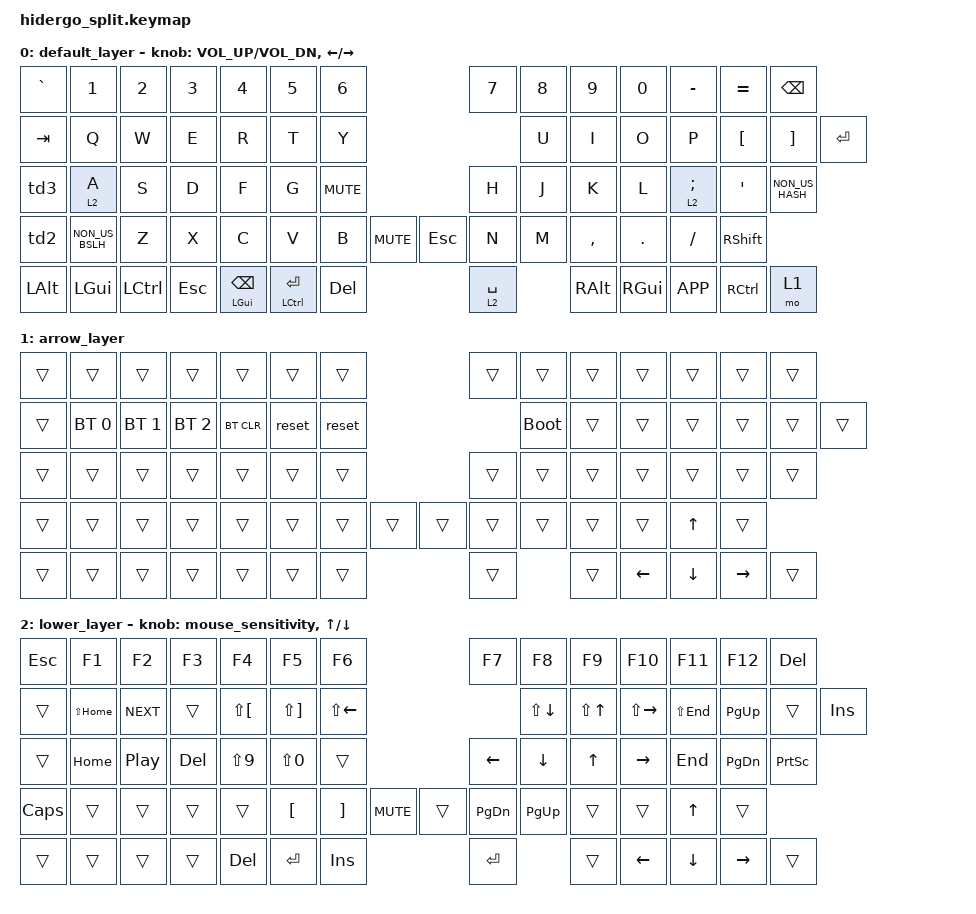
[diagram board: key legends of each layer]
#include <behaviors.dtsi>
#include <dt-bindings/zmk/keys.h>
#include <dt-bindings/zmk/bt.h>
#include <dt-bindings/zmk/ext_power.h>
#include <dt-bindings/zmk/mouse.h>

/ {

	behaviors {
        td0: tap_dance_0 {
            compatible = "zmk,behavior-tap-dance";
            label = "TAP_DANCE_0";
            #binding-cells = <0>;
            tapping-term-ms = <200>;
            bindings = <&mo 2>, <&kp CAPSLOCK>;
        };
		td1: tap_dance_1 {
            compatible = "zmk,behavior-tap-dance";
            label = "TAP_DANCE_1";
            #binding-cells = <0>;
            tapping-term-ms = <200>;
            bindings = <&mo 2>, <&tog 1>;
        };

        mouse_sensitivity: mouse_sensitivity {
            compatible = "zmk,behavior-sensor-rotate";
            label = "mouse_sensitivity";
            #sensor-binding-cells = <0>;
            tap-ms = <5>;
            bindings = <&msens 8>, <&msens 248>;
        };

        td2: tap_dance_2 {
            compatible = "zmk,behavior-tap-dance";
            label = "TAP_DANCE_2";
            #binding-cells = <0>;
            tapping-term-ms = <200>;
            bindings = <&kp LSFT>, <&kp CAPSLOCK>;
        };

        td3: tap_dance_3 {
            compatible = "zmk,behavior-tap-dance";
            label = "TAP_DANCE_3";
            #binding-cells = <0>;
            tapping-term-ms = <200>;
            bindings = <&kp ESC>, <&kp LG(LC(TAB))>;
        };
    
    };

	keymap {
		compatible = "zmk,keymap";

		default_layer {
// -----------------------------------------------------------------------------------------------------------------------------------
// |  ESC   |  1  |  2  |  3   |  4   |  5   |  6   |                      |  7   |  8    |  9    |  0   |   -   |   =   |    BSPC    |
// |  TAB   |  Q  |  W  |  E   |  R   |  T   |                             |  Y   |  U    |  I    |  O   |   P   |   [   |  ]  |  \   |
// |  MO    |  A  |  S  |  D   |  F   |  G   |  RL                         |  H   |  J    |  K    |  L   |   ;   |   '   |    RET     |
// | SHIFT  |  <  |  Z  |  X   |  C   |  V   |  B   |        |  RR  |  B   |  N   |  M    |  ,    |  .   |   /   |       SHIFT        |
// | CTRL   | GUI | ALT | GUI  | MO   |                                    | SPCE         | ALTGR | GUI  |  APP  |  CTRL |    MO      |
//                                    | BSPC |
//                                    | SPACE| ENTER|		


//            bindings = <
//&kp ESC     &kp N1          &kp N2      &kp N3  &kp N4  	&kp N5  	&kp N6                                                  &kp N7  		&kp N8  	&kp N9  		&kp N0      &kp MINUS   &kp EQUAL   &kp BSPC    
//&kp TAB     &kp Q           &kp W       &kp E   &kp R   	&kp T                   	                                        &kp Y   		&kp U   	&kp I       	&kp O       &kp P       &kp LBKT    &kp RBKT   			&kp RET 
//&td0        &kp A           &kp S       &kp D   &kp F   	&kp G                   &kp C_MUTE                                  &kp H   		&kp J   	&kp K       	&kp L      	&kp SEMI    &kp SQT     &kp NON_US_HASH 
//&kp LSFT    &kp NON_US_BSLH &kp Z       &kp X   &kp C   	&kp V   	&kp B                       &kp C_MUTE   	&kp B   	&kp N   		&kp M   	&kp COMMA       &kp DOT    	&kp FSLH    			&kp RSHIFT     
//&kp LCTRL   &kp LGUI        &kp LALT    &td1    &kp BSPC 	&kp SPACE 	&kp RET                                                 &kp SPACE       			&kp RALT    	&kp RGUI    &kp K_APP   &kp RCTRL 			            &mo 2                                	
//			>;
//
//			sensor-bindings = <&inc_dec_kp C_VOL_UP C_VOL_DN &inc_dec_kp DOWN_ARROW UP_ARROW>;
//		};

            bindings = <
&kp GRAVE       &kp N1              &kp N2          &kp N3          &kp N4  	    &kp N5  	    &kp N6                                                      &kp N7  		&kp N8  	&kp N9  		&kp N0          &kp MINUS       &kp EQUAL   &kp BSPC    
&kp TAB         &kp Q               &kp W           &kp E           &kp R   	    &kp T                   	                                                &kp Y   		&kp U   	&kp I       	&kp O           &kp P           &kp LBKT    &kp RBKT   			&kp RET 
&td3            &lt 2 A             &kp S           &kp D           &kp F   	    &kp G                       &kp C_MUTE                                      &kp H   		&kp J   	&kp K       	&kp L      	    &lt 2 SEMI      &kp SQT     &kp NON_US_HASH 
&td2            &kp NON_US_BSLH     &kp Z           &kp X           &kp C   	    &kp V   	    &kp B                           &kp C_MUTE   	&kp ESC     &kp N   		&kp M   	&kp COMMA       &kp DOT    	    &kp FSLH    			    &kp RSHIFT     
&kp LALT        &kp LGUI            &kp LCTRL       &kp ESC         &mt LGUI BSPC 	&mt LCTRL RET 	&kp DELETE                                                  &lt 2 SPACE       			&kp RALT    	&kp RGUI        &kp K_APP       &kp RCTRL 	                    &mo 1                                	
			>;

			sensor-bindings = <&inc_dec_kp C_VOL_UP C_VOL_DN &inc_dec_kp LEFT_ARROW RIGHT_ARROW>;
		};


		arrow_layer {
			bindings = <
&trans          &trans              &trans          &trans          &trans      	&trans  		&trans      	                                            &trans  		&trans      &trans      	&trans      	&trans     	    &trans      &trans    
&trans          &bt BT_SEL 0        &bt BT_SEL 1    &bt BT_SEL 2    &bt BT_CLR      &reset                			                                            &reset   		&bootloader	&trans          &trans        	&trans          &trans      &trans       		&trans 
&trans          &trans              &trans          &trans          &trans   		&trans                      &trans      	                                &trans   	    &trans   	&trans          &trans        	&trans          &trans     	&trans 
&trans          &trans              &trans          &trans          &trans   		&trans   		&trans       	                &trans   	    &trans   	&trans          &trans      &trans          &trans		 	&kp UP        			    &trans     
&trans          &trans              &trans          &trans          &trans  		&trans  		&trans     		                                            &trans         			 	&trans          &kp LEFT      	&kp DOWN  	    &kp RIGHT                       &trans 
                                                                                                          	
			>;
		};
		lower_layer {
			bindings = <
&kp ESC         &kp F1              &kp  F2     	&kp  F3  		&kp  F4  		&kp  F5  		&kp  F6      	                                            &kp  F7  		&kp  F8     &kp  F9         &kp  F10        &kp F11         &kp F12     &kp DELETE    
&trans  	    &kp LS(HOME)        &kp C_NEXT      &trans   	    &kp LS(LBKT) 	&kp LS(RBKT)           		                                                &kp LS(LEFT)  	&kp LS(DOWN) &kp LS(UP)     &kp LS(RIGHT)   &kp LS(END)     &kp PG_UP   &trans      		&kp INSERT 
&trans          &kp HOME            &kp C_PP      	&kp DELETE 		&kp LS(N9) 		&kp LS(N0)                  &trans      	                                &kp LEFT   		&kp DOWN    &kp UP          &kp RIGHT       &kp END         &kp PG_DN 	&kp PRINTSCREEN
&kp CAPSLOCK    &trans              &trans      	&trans          &trans         	&kp LBKT   		&kp RBKT                        &kp C_MUTE     	&trans      &kp PG_DN       &kp PG_UP   &trans          &trans		    &kp UP        			    &trans     
&trans          &trans              &trans          &trans   		&kp DELETE 		&kp RET 	    &kp INSERT    	                                            &kp RET        			    &trans      	&kp LEFT        &kp DOWN  	    &kp RIGHT                       &trans
                                                                                                          	
			>;

			sensor-bindings = <&mouse_sensitivity &inc_dec_kp UP_ARROW DOWN_ARROW>;

		};
	};
};

// TODO:
// ============================================================================
// on layer mouse movement converts in to scrolling/arrow
// adjust sensibility of trackpad depending on layers key... behaviour in general
// add new layer with numbers/symbols
// ctrl+gui + tab on bloq may, plus esc on key
// double tap on shift bloq may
